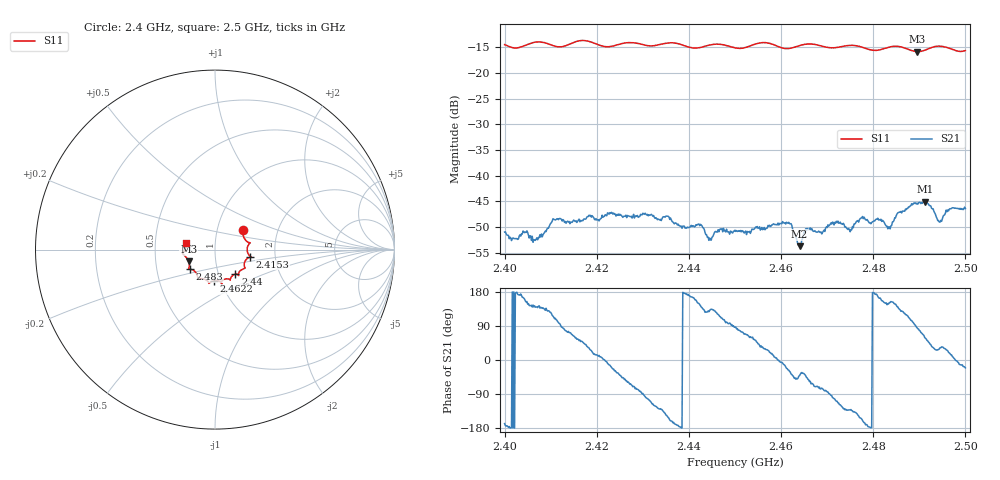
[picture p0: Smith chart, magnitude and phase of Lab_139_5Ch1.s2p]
# Hz S RI R 50
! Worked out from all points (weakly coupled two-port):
!   601 points, 2.4 GHz to 2.5 GHz, reference 50 ohm
!   highest |S21| = -45.08 dB at 2.4913 GHz (marker M1); lowest = -53.7 dB at 2.464 GHz (marker M2)
!   lowest |S11| = -15.9 dB at 2.4895 GHz (marker M3), VSWR 1.38, Z = 36.9 - j5.01 ohm
!   |S11| at or under -10 dB: start of sweep to end of sweep
!   S12 and S22 are empty: the file has one direction only
!   S11 on the Smith chart (normalised r, x): 2.4 GHz: 1.33, +0.29; 2.4153 GHz: 1.48, -0.12; 2.44 GHz: 1.20, -0.34; 2.4622 GHz: 0.93, -0.33; 2.483 GHz: 0.74, -0.17; 2.5 GHz: 0.72, +0.06
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2.4e9  0.1552 0.1065  -0.00276 -0.000596  0 0  0 0
2.406667e9  0.1952 0.038  -0.00178 0.00152  0 0  0 0
2.410833e9  0.1816 0.016  -0.00122 0.00354  0 0  0 0
2.415333e9  0.1963 -0.0388  0.00187 0.00305  0 0  0 0
2.416667e9  0.2019 -0.0429  0.00234 0.00276  0 0  0 0
2.433333e9  0.131 -0.1337  -0.00232 -0.00299  0 0  0 0
2.44e9  0.1138 -0.1367  -0.00308 0.000546  0 0  0 0
2.442333e9  0.0932 -0.1493  -0.00272 0.0018  0 0  0 0
2.4445e9  0.0849 -0.1661  -0.0016 0.00188  0 0  0 0
2.45e9  0.0648 -0.1628  0.000186 0.00294  0 0  0 0
2.462167e9  -0.00736 -0.1739  0.00272 -0.00205  0 0  0 0
2.464e9  -0.0269 -0.1824  0.00155 -0.00136  0 0  0 0
2.466667e9  -0.0342 -0.1877  0.00145 -0.00269  0 0  0 0
2.472333e9  -0.0733 -0.161  -0.00141 -0.00332  0 0  0 0
2.474833e9  -0.0916 -0.1605  -0.00198 -0.00221  0 0  0 0
2.477667e9  -0.0981 -0.1475  -0.00374 -0.00141  0 0  0 0
2.483e9  -0.1376 -0.1095  -0.00267 0.00181  0 0  0 0
2.483333e9  -0.1401 -0.1092  -0.0027 0.00168  0 0  0 0
2.4895e9  -0.1464 -0.066  0.000435 0.00538  0 0  0 0
2.491333e9  -0.1617 -0.0415  0.003 0.00469  0 0  0 0
2.494333e9  -0.1806 -0.0218  0.00308 0.00173  0 0  0 0
2.5e9  -0.1599 0.0393  0.00447 -0.0017  0 0  0 0
